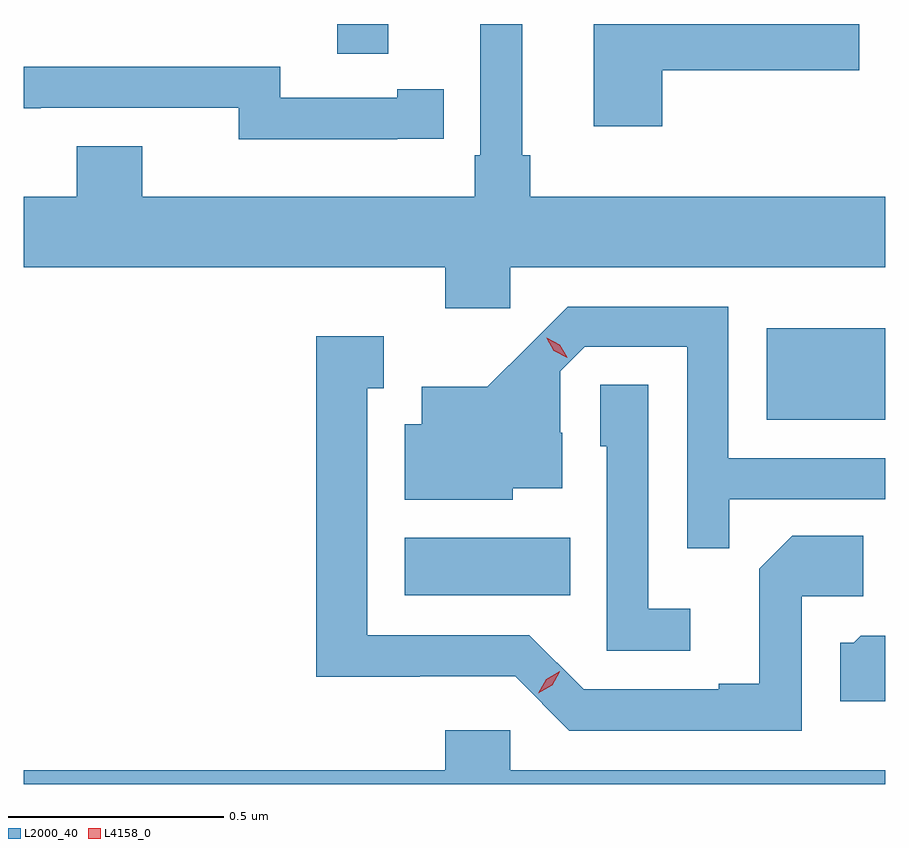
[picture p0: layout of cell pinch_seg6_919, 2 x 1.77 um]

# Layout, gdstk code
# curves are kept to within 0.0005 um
import gdstk
lib = gdstk.Library(unit=1e-6, precision=1e-09)
def R(c, l, rs):  # rectangles x0, y0, x1, y1
    for r in rs: c.add(gdstk.rectangle(r[:2], r[2:], *l))
def P(c, l, *ps):  # polygons
    for p in ps: c.add(gdstk.Polygon(p, *l))
L2000_40 = (2000, 40)
L4158_0 = (4158, 0)

pinch_seg6_919 = lib.new_cell('pinch_seg6_919')
R(pinch_seg6_919, L2000_40, [(147.362,915.938,147.746,916.072), (148.202,916.346,148.477,916.558), (147.205,917.196,147.323,917.265)])
P(pinch_seg6_919, L2000_40, [(147.606,916.7),(148.477,916.7),(148.477,916.864),(147.653,916.864),(147.653,916.96),(147.634,916.96),(147.634,917.265),(147.537,917.265),(147.537,916.96),(147.524,916.96),(147.524,916.864),(146.752,916.864),(146.752,916.981),(146.6,916.981),(146.6,916.864),(146.477,916.864),(146.477,916.7),(147.455,916.7),(147.455,916.605),(147.606,916.605)],
  [(147.959,917.158),(148.417,917.158),(148.417,917.265),(147.8,917.265),(147.8,917.028),(147.959,917.028)],
  [(147.344,916.998),(147.452,916.998),(147.452,917.114),(147.344,917.114),(147.344,917.094),(147.072,917.094),(147.072,917.166),(146.477,917.166),(146.477,917.069),(146.516,917.069),(146.516,917.07),(146.976,917.07),(146.976,916.997),(147.344,916.997)],
  [(148.115,916.161),(148.477,916.161),(148.477,916.257),(148.113,916.257),(148.113,916.608),(147.74,916.608),(147.553,916.423),(147.401,916.423),(147.401,916.336),(147.362,916.336),(147.362,916.16),(147.612,916.16),(147.612,916.187),(147.727,916.187),(147.727,916.316),(147.723,916.316),(147.723,916.458),(147.78,916.515),(148.017,916.515),(148.017,916.048),(148.115,916.048)],
  [(148.284,915.936),(148.426,915.936),(148.426,916.076),(148.261,916.076),(148.185,916),(148.185,915.733),(148.091,915.733),(148.091,915.72),(147.777,915.72),(147.651,915.846),(147.274,915.846),(147.274,916.419),(147.313,916.419),(147.313,916.54),(147.156,916.54),(147.156,915.749),(147.396,915.749),(147.396,915.75),(147.618,915.75),(147.744,915.624),(148.284,915.624)],
  [(148.024,915.907),(147.927,915.907),(147.927,916.427),(147.816,916.427),(147.816,916.284),(147.831,916.284),(147.831,915.81),(148.024,915.81)],
  [(148.477,915.844),(148.42,915.844),(148.404,915.828),(148.373,915.828),(148.373,915.692),(148.477,915.692)],
  [(148.477,915.532),(147.606,915.532),(147.606,915.625),(147.455,915.625),(147.455,915.532),(146.477,915.532),(146.477,915.5),(148.477,915.5)])
P(pinch_seg6_919, L4158_0, [(147.739,916.49),(147.708,916.506),(147.691,916.535),(147.691,916.536),(147.691,916.536),(147.722,916.52),(147.739,916.491),(147.739,916.49)],
  [(147.672,915.711),(147.672,915.711),(147.69,915.743),(147.722,915.762),(147.722,915.762),(147.722,915.761),(147.704,915.729),(147.672,915.711)])

lib.write_gds('pinch_seg6_919.gds')
